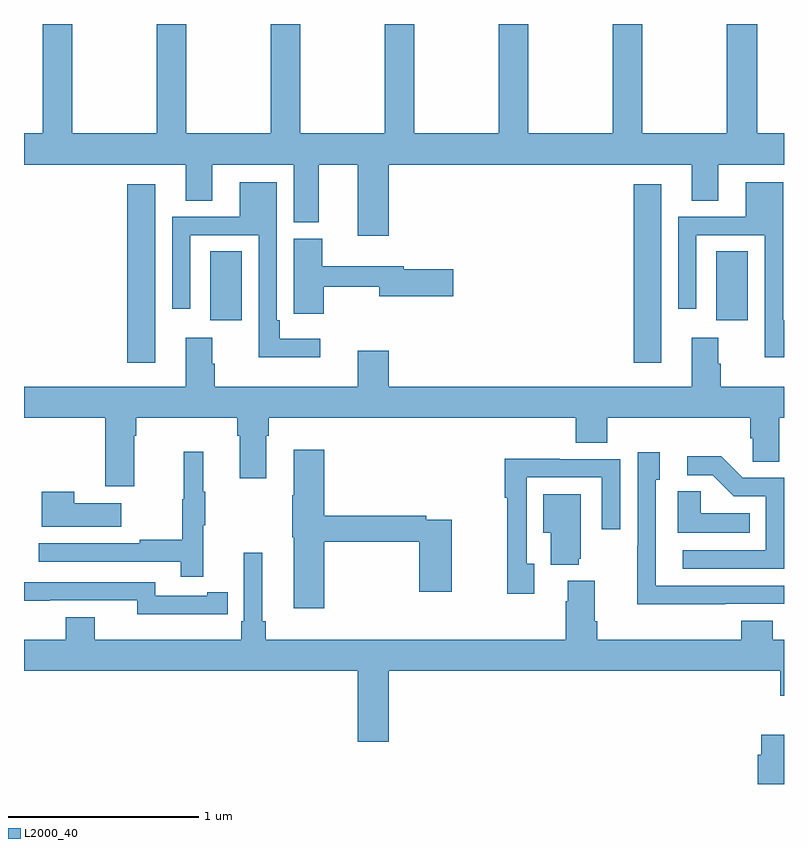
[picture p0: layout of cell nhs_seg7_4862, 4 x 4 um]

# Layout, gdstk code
import gdstk
lib = gdstk.Library(unit=1e-6, precision=1e-09)
def R(c, l, rs):  # rectangles x0, y0, x1, y1
    for r in rs: c.add(gdstk.rectangle(r[:2], r[2:], *l))
def P(c, l, *ps):  # polygons
    for p in ps: c.add(gdstk.Polygon(p, *l))
L2000_40 = (2000, 40)

nhs_seg7_4862 = lib.new_cell('nhs_seg7_4862')
R(nhs_seg7_4862, L2000_40, [(415.544,1022.217,415.69,1023.157), (418.208,1022.217,418.354,1023.157), (415.979,1022.442,416.146,1022.804), (418.643,1022.442,418.81,1022.804)])
P(nhs_seg7_4862, L2000_40, [(416.899,1023.424),(416.454,1023.424),(416.454,1024),(416.299,1024),(416.299,1023.424),(415.854,1023.424),(415.854,1024),(415.699,1024),(415.699,1023.424),(415.254,1023.424),(415.254,1024),(415.099,1024),(415.099,1023.424),(415,1023.424),(415,1023.26),(415.85,1023.26),(415.85,1023.07),(415.99,1023.07),(415.99,1023.26),(416.42,1023.26),(416.42,1022.956),(416.551,1022.956),(416.551,1023.26),(416.756,1023.26),(416.756,1022.886),(416.92,1022.886),(416.92,1023.26),(418.514,1023.26),(418.514,1023.07),(418.654,1023.07),(418.654,1023.26),(419,1023.26),(419,1023.424),(418.859,1023.424),(418.859,1024),(418.699,1024),(418.699,1023.424),(418.254,1023.424),(418.254,1024),(418.099,1024),(418.099,1023.424),(417.654,1023.424),(417.654,1024),(417.499,1024),(417.499,1023.424),(417.054,1023.424),(417.054,1024),(416.899,1024)],
  [(419,1022.44),(418.995,1022.44),(418.995,1023.166),(418.799,1023.166),(418.799,1022.985),(418.443,1022.985),(418.443,1022.502),(418.539,1022.502),(418.539,1022.889),(418.899,1022.889),(418.899,1022.246),(419,1022.246)],
  [(416.56,1022.344),(416.347,1022.344),(416.347,1022.44),(416.331,1022.44),(416.331,1023.166),(416.135,1023.166),(416.135,1022.985),(415.779,1022.985),(415.779,1022.502),(415.875,1022.502),(415.875,1022.889),(416.235,1022.889),(416.235,1022.246),(416.56,1022.246)],
  [(416.577,1022.616),(416.87,1022.616),(416.87,1022.566),(417.259,1022.566),(417.259,1022.708),(416.998,1022.708),(416.998,1022.725),(416.569,1022.725),(416.569,1022.871),(416.42,1022.871),(416.42,1022.587),(416.421,1022.587),(416.421,1022.475),(416.577,1022.475)],
  [(415.579,1021.832),(415.592,1021.832),(415.592,1021.928),(416.123,1021.928),(416.123,1021.832),(416.135,1021.832),(416.135,1021.608),(416.275,1021.608),(416.275,1021.832),(416.288,1021.832),(416.288,1021.928),(417.905,1021.928),(417.905,1021.795),(418.07,1021.795),(418.07,1021.928),(418.823,1021.928),(418.823,1021.819),(418.836,1021.819),(418.836,1021.696),(418.975,1021.696),(418.975,1021.928),(419,1021.928),(419,1022.092),(418.667,1022.092),(418.667,1022.213),(418.654,1022.213),(418.654,1022.35),(418.514,1022.35),(418.514,1022.092),(416.92,1022.092),(416.92,1022.281),(416.756,1022.281),(416.756,1022.092),(416.003,1022.092),(416.003,1022.213),(415.99,1022.213),(415.99,1022.35),(415.85,1022.35),(415.85,1022.092),(415,1022.092),(415,1021.928),(415.427,1021.928),(415.427,1021.566),(415.579,1021.566)],
  [(416.579,1021.276),(417.08,1021.276),(417.08,1021.011),(417.25,1021.011),(417.25,1021.392),(417.116,1021.392),(417.116,1021.412),(416.579,1021.412),(416.579,1021.759),(416.42,1021.759),(416.42,1021.52),(416.413,1021.52),(416.413,1021.299),(416.42,1021.299),(416.42,1020.924),(416.579,1020.924)],
  [(415.943,1021.363),(415.954,1021.363),(415.954,1021.537),(415.943,1021.537),(415.943,1021.75),(415.84,1021.75),(415.84,1021.5),(415.833,1021.5),(415.833,1021.286),(415.609,1021.286),(415.609,1021.266),(415.077,1021.266),(415.077,1021.17),(415.825,1021.17),(415.825,1021.092),(415.943,1021.092)],
  [(418.691,1020.948),(419,1020.948),(419,1021.044),(418.326,1021.044),(418.326,1021.602),(418.345,1021.602),(418.345,1021.747),(418.23,1021.747),(418.23,1021.253),(418.228,1021.253),(418.228,1020.947),(418.691,1020.947)],
  [(419,1021.611),(418.782,1021.611),(418.669,1021.724),(418.491,1021.724),(418.491,1021.626),(418.625,1021.626),(418.736,1021.515),(418.905,1021.515),(418.905,1021.23),(418.467,1021.23),(418.467,1021.134),(419,1021.134)],
  [(417.685,1021.158),(417.645,1021.158),(417.645,1021.614),(418.041,1021.614),(418.041,1021.341),(418.137,1021.341),(418.137,1021.71),(417.821,1021.71),(417.821,1021.712),(417.529,1021.712),(417.529,1021.507),(417.544,1021.507),(417.544,1021.002),(417.685,1021.002)],
  [(418.82,1021.426),(418.563,1021.426),(418.563,1021.541),(418.442,1021.541),(418.442,1021.322),(418.82,1021.322)],
  [(415.513,1021.477),(415.265,1021.477),(415.265,1021.537),(415.094,1021.537),(415.094,1021.355),(415.513,1021.355)],
  [(417.92,1021.185),(417.931,1021.185),(417.931,1021.525),(417.734,1021.525),(417.734,1021.322),(417.773,1021.322),(417.773,1021.154),(417.92,1021.154)],
  [(416.92,1020.596),(418.979,1020.596),(418.979,1020.465),(419,1020.465),(419,1020.76),(418.94,1020.76),(418.94,1020.859),(418.775,1020.859),(418.775,1020.76),(418.016,1020.76),(418.016,1020.856),(418.003,1020.856),(418.003,1021.069),(417.863,1021.069),(417.863,1020.962),(417.851,1020.962),(417.851,1020.76),(416.273,1020.76),(416.273,1020.856),(416.254,1020.856),(416.254,1021.216),(416.157,1021.216),(416.157,1020.856),(416.144,1020.856),(416.144,1020.76),(415.372,1020.76),(415.372,1020.877),(415.22,1020.877),(415.22,1020.76),(415,1020.76),(415,1020.596),(416.756,1020.596),(416.756,1020.222),(416.92,1020.222)],
  [(415.964,1020.894),(416.072,1020.894),(416.072,1021.01),(415.964,1021.01),(415.964,1020.99),(415.692,1020.99),(415.692,1021.062),(415,1021.062),(415,1020.965),(415.136,1020.965),(415.136,1020.966),(415.596,1020.966),(415.596,1020.893),(415.964,1020.893)],
  [(419,1020.259),(418.88,1020.259),(418.88,1020.155),(418.861,1020.155),(418.861,1020),(419,1020)])

lib.write_gds('nhs_seg7_4862.gds')
